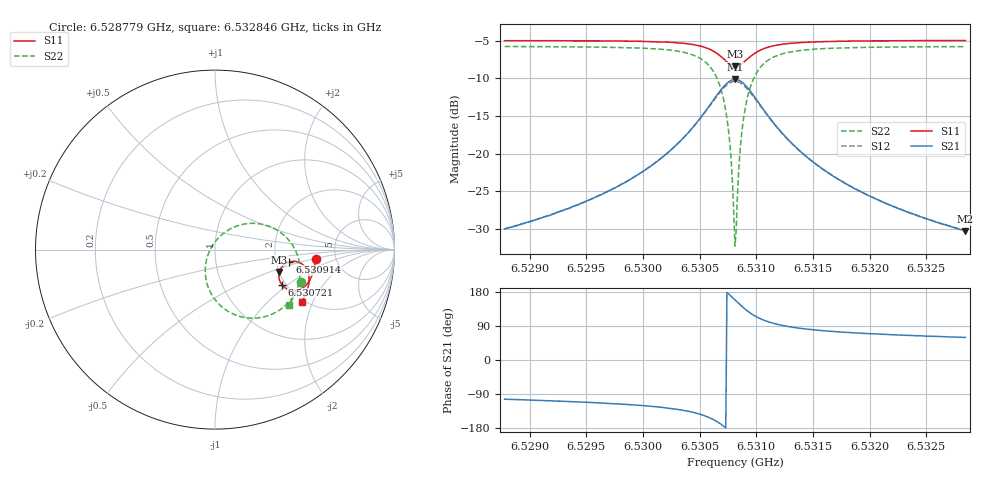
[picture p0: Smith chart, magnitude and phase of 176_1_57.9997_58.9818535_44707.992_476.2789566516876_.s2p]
#  HZ  S  RI  R  50.00
! Rohde & Schwarz Vector Network Analyzer
! Rohde-Schwarz,ZNB20-2Port,1311601062101988,3.16
! Created: UTC 3/21/2024, 12:58:07 AM
! freq[Hz]  re:S11  im:S11  re:S21  im:S21  re:S12  im:S12  re:S22  im:S22
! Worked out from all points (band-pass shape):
!   401 points, 6.528779 GHz to 6.532846 GHz, reference 50 ohm
!   highest |S21| = -10.14 dB at 6.530813 GHz (marker M1); lowest = -30.3 dB at 6.532846 GHz (marker M2)
!   |S21| within 3 dB of the highest: 6.53061 GHz to 6.531017 GHz (406.6 kHz wide, 0.00623 % of centre)
!   lowest |S11| = -8.4 dB at 6.530813 GHz (marker M3), VSWR 2.23, Z = 100 - j29.3 ohm
!   |S11| at or under -10 dB: nowhere
!   |S22| runs from -32.3 to -5.8 dB; largest |S21 - S12| = 0.013
!   S11 on the Smith chart (normalised r, x): 6.528779 GHz: 3.49, -0.52; 6.530721 GHz: 1.90, -0.90; 6.530914 GHz: 2.37, -0.40; 6.532846 GHz: 1.93, -1.66
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6.5287793e9  0.5604 -0.0508  -0.00725 -0.0308  -0.00798 -0.0305  0.4816 -0.1807
6.5294605e9  0.5512 -0.108  -0.0169 -0.0438  -0.0178 -0.0433  0.4495 -0.2439
6.5301417e9  0.5242 -0.1768  -0.0508 -0.075  -0.0532 -0.0735  0.366 -0.3327
6.5303756e9  0.4975 -0.2074  -0.091 -0.0949  -0.0941 -0.0917  0.2837 -0.372
6.5305484e9  0.4536 -0.2274  -0.1601 -0.1015  -0.1626 -0.0949  0.1561 -0.3765
6.5306501e9  0.4082 -0.2227  -0.2307 -0.0751  -0.2298 -0.065  0.0378 -0.3185
6.5307212e9  0.3722 -0.1953  -0.2828 -0.0158  -0.2769 -0.00537  -0.0385 -0.2084
6.5307619e9  0.3587 -0.1672  -0.2992 0.0378  -0.2898 0.0464  -0.0544 -0.1164
6.5307721e9  0.357 -0.159  -0.3001 0.053  -0.2902 0.0606  -0.0532 -0.0915
6.5308026e9  0.3571 -0.1333  -0.2943 0.0992  -0.2831 0.1041  -0.0346 -0.0168
6.5308128e9  0.3591 -0.1247  -0.2894 0.1143  -0.278 0.1181  -0.0233 0.00659
6.5308229e9  0.3618 -0.1165  -0.2828 0.1288  -0.2715 0.1315  -0.00999 0.0292
6.5308331e9  0.3654 -0.1085  -0.2748 0.1425  -0.2637 0.1442  0.0055 0.0499
6.5308534e9  0.375 -0.0943  -0.2558 0.1669  -0.245 0.1669  0.0416 0.0862
6.5308738e9  0.387 -0.0828  -0.233 0.1868  -0.2234 0.185  0.0826 0.114
6.5309144e9  0.4142 -0.0688  -0.1836 0.2102  -0.1765 0.2069  0.1688 0.1433
6.5309856e9  0.4578 -0.0678  -0.1071 0.2122  -0.1034 0.2091  0.2972 0.1315
6.5310873e9  0.4962 -0.0896  -0.0413 0.181  -0.0393 0.1792  0.4031 0.0623
6.5312398e9  0.5187 -0.1257  -0.00149 0.1339  -0.00028 0.1332  0.4607 -0.0344
6.5314939e9  0.5248 -0.1693  0.0155 0.0874  0.0166 0.0871  0.4744 -0.1329
6.5321751e9  0.5079 -0.2407  0.0178 0.042  0.0186 0.0418  0.4454 -0.2495
6.5328462e9  0.4832 -0.2919  0.0155 0.0263  0.0161 0.0262  0.41 -0.3092
